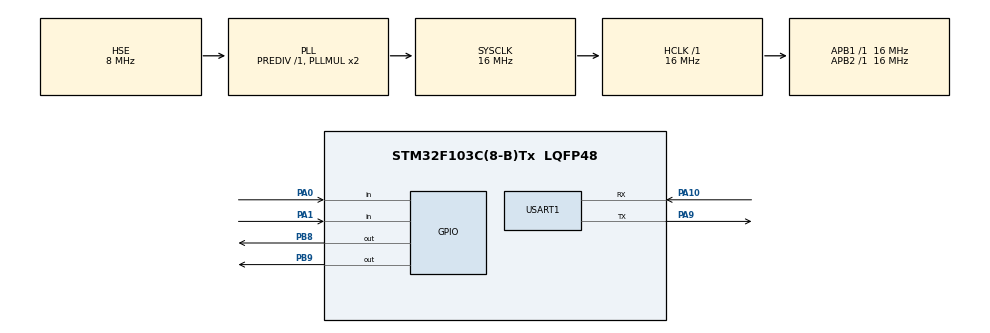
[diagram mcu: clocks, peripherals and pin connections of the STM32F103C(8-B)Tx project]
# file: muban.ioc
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FREERTOS.Tasks01=taskLED1,0,128,StartTaskLED1,Default,NULL,Dynamic,NULL,NULL;taskLED2,0,128,StartTaskLED2,Default,NULL,Dynamic,NULL,NULL;taskKEY1,0,128,StartTask03,Default,NULL,Dynamic,NULL,NULL;taskKEY2,0,128,StartTaskKEY2,Default,NULL,Dynamic,NULL,NULL
Mcu.Family=STM32F1
Mcu.Name=STM32F103C(8-B)Tx
Mcu.Package=LQFP48
NVIC.PriorityGroup=NVIC_PRIORITYGROUP_4
NVIC.TIM2_IRQn=true\:15\:0\:false\:false\:true\:false\:false\:true\:true
NVIC.TimeBase=TIM2_IRQn
NVIC.TimeBaseIP=TIM2
PA0-WKUP.Signal=GPIO_Input
PA1.Signal=GPIO_Input
PA10.Mode=Asynchronous
PA10.Signal=USART1_RX
PA13.Mode=Serial_Wire
PA13.Signal=SYS_JTMS-SWDIO
PA14.Mode=Serial_Wire
PA14.Signal=SYS_JTCK-SWCLK
PA9.Mode=Asynchronous
PA9.Signal=USART1_TX
PB8.Signal=GPIO_Output
PB9.Signal=GPIO_Output
PD0-OSC_IN.Mode=HSE-External-Oscillator
PD0-OSC_IN.Signal=RCC_OSC_IN
PD1-OSC_OUT.Mode=HSE-External-Oscillator
PD1-OSC_OUT.Signal=RCC_OSC_OUT
ProjectManager.HeapSize=0x200
ProjectManager.StackSize=0x400
ProjectManager.TargetToolchain=MDK-ARM V5.32
RCC.AHBFreq_Value=16000000
RCC.APB1Freq_Value=16000000
RCC.APB1TimFreq_Value=16000000
RCC.APB2Freq_Value=16000000
RCC.APB2TimFreq_Value=16000000
RCC.HCLKFreq_Value=16000000
RCC.PLLSourceVirtual=RCC_PLLSOURCE_HSE
RCC.SYSCLKFreq_VALUE=16000000
RCC.SYSCLKSource=RCC_SYSCLKSOURCE_PLLCLK
RCC.USBFreq_Value=16000000
USART1.VirtualMode=VM_ASYNC
VP_FREERTOS_VS_CMSIS_V1.Mode=CMSIS_V1
VP_SYS_VS_tim2.Mode=TIM2
board=custom

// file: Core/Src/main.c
/* USER CODE BEGIN Header */
/**
  ******************************************************************************
  * @file           : main.c
  * @brief          : Main program body
  ******************************************************************************
  * @attention
  *
  * Copyright (c) 2024 STMicroelectronics.
  * All rights reserved.
  *
  * This software is licensed under terms that can be found in the LICENSE file
  * in the root directory of this software component.
  * If no LICENSE file comes with this software, it is provided AS-IS.
  *
  ******************************************************************************
  */
/* USER CODE END Header */
#include "main.h"
#include "cmsis_os.h"
#include "usart.h"
#include "gpio.h"

void SystemClock_Config(void);
void MX_FREERTOS_Init(void);

int main(void)
{

  /* MCU Configuration--------------------------------------------------------*/

  /* Reset of all peripherals, Initializes the Flash interface and the Systick. */
  HAL_Init();

  /* Configure the system clock */
  SystemClock_Config();

  /* Initialize all configured peripherals */
  MX_GPIO_Init();
  MX_USART1_UART_Init();
  /* USER CODE BEGIN 2 */
  printf("hello wang\r\n");
  /* USER CODE END 2 */

  /* Call init function for freertos objects (in freertos.c) */
  MX_FREERTOS_Init();

  /* Start scheduler */
  osKernelStart();

  /* We should never get here as control is now taken by the scheduler */
  /* Infinite loop */
  while (1)
  {

  }
}

void SystemClock_Config(void)
{
  RCC_OscInitTypeDef RCC_OscInitStruct = {0};
  RCC_ClkInitTypeDef RCC_ClkInitStruct = {0};

  /** Initializes the RCC Oscillators according to the specified parameters
  * in the RCC_OscInitTypeDef structure.
  */
  RCC_OscInitStruct.OscillatorType = RCC_OSCILLATORTYPE_HSE;
  RCC_OscInitStruct.HSEState = RCC_HSE_ON;
  RCC_OscInitStruct.HSEPredivValue = RCC_HSE_PREDIV_DIV1;
  RCC_OscInitStruct.HSIState = RCC_HSI_ON;
  RCC_OscInitStruct.PLL.PLLState = RCC_PLL_ON;
  RCC_OscInitStruct.PLL.PLLSource = RCC_PLLSOURCE_HSE;
  RCC_OscInitStruct.PLL.PLLMUL = RCC_PLL_MUL2;
  if (HAL_RCC_OscConfig(&RCC_OscInitStruct) != HAL_OK)
  {
    Error_Handler();
  }

  /** Initializes the CPU, AHB and APB buses clocks
  */
  RCC_ClkInitStruct.ClockType = RCC_CLOCKTYPE_HCLK|RCC_CLOCKTYPE_SYSCLK
                              |RCC_CLOCKTYPE_PCLK1|RCC_CLOCKTYPE_PCLK2;
  RCC_ClkInitStruct.SYSCLKSource = RCC_SYSCLKSOURCE_PLLCLK;
  RCC_ClkInitStruct.AHBCLKDivider = RCC_SYSCLK_DIV1;
  RCC_ClkInitStruct.APB1CLKDivider = RCC_HCLK_DIV1;
  RCC_ClkInitStruct.APB2CLKDivider = RCC_HCLK_DIV1;

  if (HAL_RCC_ClockConfig(&RCC_ClkInitStruct, FLASH_LATENCY_0) != HAL_OK)
  {
    Error_Handler();
  }
}

void HAL_TIM_PeriodElapsedCallback(TIM_HandleTypeDef *htim)
{
  if (htim->Instance == TIM2) {
    HAL_IncTick();
  }
}

void Error_Handler(void)
{
  __disable_irq();
  while (1)
  {
  }
}

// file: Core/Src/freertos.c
/* USER CODE BEGIN Header */
/**
  ******************************************************************************
  * File Name          : freertos.c
  * Description        : Code for freertos applications
  ******************************************************************************
  * @attention
  *
  * Copyright (c) 2024 STMicroelectronics.
  * All rights reserved.
  *
  * This software is licensed under terms that can be found in the LICENSE file
  * in the root directory of this software component.
  * If no LICENSE file comes with this software, it is provided AS-IS.
  *
  ******************************************************************************
  */
/* USER CODE END Header */

#include "FreeRTOS.h"
#include "task.h"
#include "main.h"
#include "cmsis_os.h"
#include "stdio.h"

osThreadId taskLED1Handle;
osThreadId taskLED2Handle;
osThreadId taskKEY1Handle;
osThreadId taskKEY2Handle;

void StartTaskLED1(void const * argument);
void StartTaskLED2(void const * argument);
void StartTaskKEY1(void const * argument);
void StartTaskKEY2(void const * argument);

void MX_FREERTOS_Init(void); /* (MISRA C 2004 rule 8.1) */

/* GetIdleTaskMemory prototype (linked to static allocation support) */
void vApplicationGetIdleTaskMemory( StaticTask_t **ppxIdleTaskTCBBuffer, StackType_t **ppxIdleTaskStackBuffer, uint32_t *pulIdleTaskStackSize );

/* USER CODE BEGIN GET_IDLE_TASK_MEMORY */
static StaticTask_t xIdleTaskTCBBuffer;
static StackType_t xIdleStack[configMINIMAL_STACK_SIZE];

void vApplicationGetIdleTaskMemory( StaticTask_t **ppxIdleTaskTCBBuffer, StackType_t **ppxIdleTaskStackBuffer, uint32_t *pulIdleTaskStackSize )
{
  *ppxIdleTaskTCBBuffer = &xIdleTaskTCBBuffer;
  *ppxIdleTaskStackBuffer = &xIdleStack[0];
  *pulIdleTaskStackSize = configMINIMAL_STACK_SIZE;
  /* place for user code */
}
/* USER CODE END GET_IDLE_TASK_MEMORY */

void MX_FREERTOS_Init(void) {

  /* Create the thread(s) */
  /* definition and creation of taskLED1 */
  osThreadDef(taskLED1, StartTaskLED1, osPriorityNormal, 0, 128);
  taskLED1Handle = osThreadCreate(osThread(taskLED1), NULL);

  /* definition and creation of taskLED2 */
  osThreadDef(taskLED2, StartTaskLED2, osPriorityNormal, 0, 128);
  taskLED2Handle = osThreadCreate(osThread(taskLED2), NULL);

  /* definition and creation of taskKEY1 */
  osThreadDef(taskKEY1, StartTaskKEY1, osPriorityNormal, 0, 128);
  taskKEY1Handle = osThreadCreate(osThread(taskKEY1), NULL);

  /* definition and creation of taskKEY2 */
  osThreadDef(taskKEY2, StartTaskKEY2, osPriorityNormal, 0, 128);
  taskKEY2Handle = osThreadCreate(osThread(taskKEY2), NULL);

}

void StartTaskLED1(void const * argument)
{
  /* USER CODE BEGIN StartTaskLED1 */
  /* Infinite loop */
  for(;;)
  {
		HAL_GPIO_TogglePin(GPIOB,GPIO_PIN_8);
    osDelay(500);
  }
  /* USER CODE END StartTaskLED1 */
}

/* USER CODE BEGIN Header_StartTaskLED2 */
/**
* @brief Function implementing the t askLED2 thread.
* @param argument: Not used
* @retval None
*/
/* USER CODE END Header_StartTaskLED2 */
void StartTaskLED2(void const * argument)
{
  /* USER CODE BEGIN StartTaskLED2 */
  /* Infinite loop */
  for(;;)
  {
    HAL_GPIO_TogglePin(GPIOB,GPIO_PIN_9);
    osDelay(1000);
  }
  /* USER CODE END StartTaskLED2 */
}

void StartTaskKEY1(void const * argument)
{
  /* USER CODE BEGIN StartTask03 */
  /* Infinite loop */
  for(;;)
  {
		if(HAL_GPIO_ReadPin(GPIOA,GPIO_PIN_0)==GPIO_PIN_RESET)
		{
			osDelay(20);
			if(HAL_GPIO_ReadPin(GPIOA,GPIO_PIN_0)==GPIO_PIN_RESET)
			{
				printf("KEY1按下!\r\n");
				if(taskLED1Handle==NULL)
				{
					printf("任务1不存在，准备创建任务\r\n");
					osThreadDef(taskLED1, StartTaskLED1, osPriorityNormal, 0, 128);
					taskLED1Handle = osThreadCreate(osThread(taskLED1), NULL);
					if(taskLED1Handle!=NULL)
					{
						printf("任务1创建完成！\r\n");
					}
				}
				else{
					printf("删除任务函数\r\n");
					osThreadTerminate(taskLED1Handle);
					taskLED1Handle=NULL;
				}
			}
		}
		while(HAL_GPIO_ReadPin(GPIOA,GPIO_PIN_0)==GPIO_PIN_RESET);
    osDelay(10);
  }
  /* USER CODE END StartTask03 */
}

void StartTaskKEY2(void const * argument)
{
		/* USER CODE BEGIN StartTaskKEY2 */
		static int flag=1;
		/* Infinite loop */
		for(;;)
		{
			if(HAL_GPIO_ReadPin(GPIOA,GPIO_PIN_1)==GPIO_PIN_RESET)
			{
				osDelay(20);
				if(HAL_GPIO_ReadPin(GPIOA,GPIO_PIN_1)==GPIO_PIN_RESET)
				{
					printf("KEY2按下!\r\n");
					if(flag==0)
					{
						osThreadSuspend(taskLED2Handle);
						printf("任务2已暂停\r\n");
						flag=1;
					}
					else{
						osThreadResume(taskLED2Handle);
						printf("任务2已恢复\r\n");
						flag=0;
					}
				}
			}
		while(HAL_GPIO_ReadPin(GPIOA,GPIO_PIN_1)==GPIO_PIN_RESET);
    osDelay(10);
		}
  /* USER CODE END StartTaskKEY2 */
}
